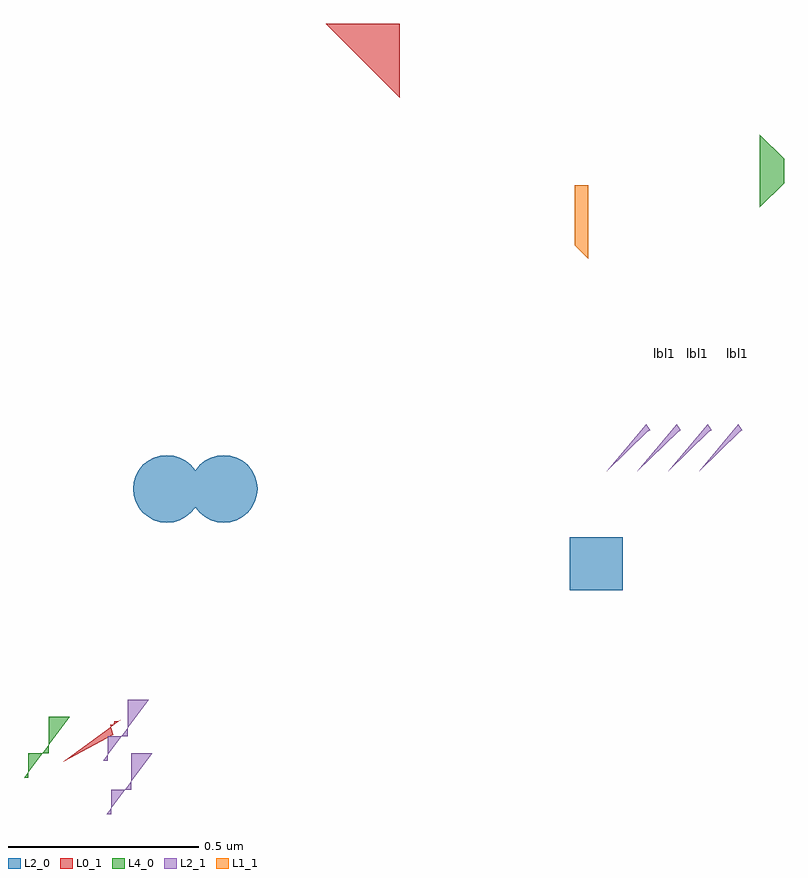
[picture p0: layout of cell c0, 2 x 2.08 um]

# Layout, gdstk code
import gdstk
lib = gdstk.Library(unit=1e-6, precision=5e-10)
def R(c, l, rs):  # rectangles x0, y0, x1, y1
    for r in rs: c.add(gdstk.rectangle(r[:2], r[2:], *l))
def P(c, l, *ps):  # polygons
    for p in ps: c.add(gdstk.Polygon(p, *l))
L0_1 = (0, 1)
L1_1 = (1, 1)
L2_0 = (2, 0)
L2_1 = (2, 1)
L4_0 = (4, 0)

c_c0 = lib.new_cell('c0')
P(c_c0, L0_1, [(-0.146,1.128),(0.0485,1.128),(0.0485,0.9335)],
  [(-0.836,-0.8145),(-0.7045,-0.743),(-0.713,-0.7165),(-0.7035,-0.716),(-0.7015,-0.7075),(-0.692,-0.707),(-0.6855,-0.7035)])
P(c_c0, L1_1, [(0.5095,0.545),(0.5095,0.703),(0.545,0.703),(0.545,0.5095)])
R(c_c0, L2_0, [(0.496,-0.363,0.636,-0.223)])
P(c_c0, L2_0, [(-0.4745,-0.096),(-0.476,-0.0785),(-0.4815,-0.062),(-0.4895,-0.0465),(-0.5005,-0.033),(-0.514,-0.022),(-0.5295,-0.014),(-0.546,-0.0085),(-0.5635,-0.007),(-0.581,-0.0085),(-0.5975,-0.014),(-0.613,-0.022),(-0.6265,-0.033),(-0.6375,-0.0465),(-0.6455,-0.062),(-0.651,-0.0785),(-0.6525,-0.096),(-0.651,-0.1135),(-0.6455,-0.13),(-0.6375,-0.1455),(-0.6265,-0.159),(-0.613,-0.17),(-0.5975,-0.178),(-0.581,-0.1835),(-0.5635,-0.185),(-0.546,-0.1835),(-0.5295,-0.178),(-0.514,-0.17),(-0.5005,-0.159),(-0.4895,-0.1455),(-0.4815,-0.13),(-0.476,-0.1135)],
  [(-0.325,-0.096),(-0.3265,-0.0785),(-0.332,-0.062),(-0.34,-0.0465),(-0.351,-0.033),(-0.3645,-0.022),(-0.38,-0.014),(-0.3965,-0.0085),(-0.414,-0.007),(-0.4315,-0.0085),(-0.448,-0.014),(-0.4635,-0.022),(-0.477,-0.033),(-0.488,-0.0465),(-0.496,-0.062),(-0.5015,-0.0785),(-0.503,-0.096),(-0.5015,-0.1135),(-0.496,-0.13),(-0.488,-0.1455),(-0.477,-0.159),(-0.4635,-0.17),(-0.448,-0.178),(-0.4315,-0.1835),(-0.414,-0.185),(-0.3965,-0.1835),(-0.38,-0.178),(-0.3645,-0.17),(-0.351,-0.159),(-0.34,-0.1455),(-0.332,-0.13),(-0.3265,-0.1135)])
P(c_c0, L2_1, [(0.5935,-0.05),(0.7005,0.0545),(0.7075,0.0575),(0.697,0.074)],
  [(0.6745,-0.05),(0.7815,0.0545),(0.7885,0.0575),(0.778,0.074)],
  [(0.7555,-0.05),(0.8625,0.0545),(0.8695,0.0575),(0.859,0.074)],
  [(0.8365,-0.05),(0.9435,0.0545),(0.9505,0.0575),(0.94,0.074)],
  [(-0.731,-0.8115),(-0.7195,-0.8115),(-0.7195,-0.7465),(-0.6665,-0.7465),(-0.6665,-0.651),(-0.611,-0.651)],
  [(-0.722,-0.9525),(-0.7105,-0.9525),(-0.7105,-0.8875),(-0.6575,-0.8875),(-0.6575,-0.792),(-0.602,-0.792)])
P(c_c0, L4_0, [(-0.9395,-0.8565),(-0.928,-0.8565),(-0.928,-0.7915),(-0.875,-0.7915),(-0.875,-0.696),(-0.8195,-0.696)],
  [(0.9965,0.645),(0.9965,0.836),(1.06,0.7725),(1.06,0.7085)])
c_c0.add(gdstk.Label('lbl1', (0.7455,0.261), layer=4, texttype=2))
c_c0.add(gdstk.Label('lbl1', (0.7635,0.261), layer=4, texttype=2))
c_c0.add(gdstk.Label('lbl1', (0.8325,0.261), layer=4, texttype=2))
c_c0.add(gdstk.Label('lbl1', (0.938,0.261), layer=4, texttype=2))

lib.write_gds('c0.gds')
